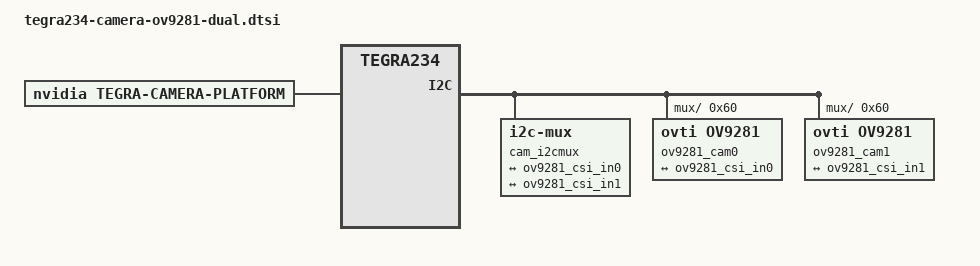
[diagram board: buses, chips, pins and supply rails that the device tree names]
// SPDX-License-Identifier: GPL-2.0-only
/*
 * tegra234-camera-ov9281-dual.dtsi
 *
 * Device tree "nội dung sensor" cho 2x Waveshare OV9281-120 (cam0/cam1) trên
 * Jetson Orin Nano, board P3768 22-pin CSI connector.
 *
 * NGUỒN THAM CHIẾU (đọc code thật, R39.2, ~/Downloads/public_sources_39.2):
 *  - Khung sườn/cấu trúc node: hardware/nvidia/t23x/nv-public/overlay/
 *    tegra234-camera-rbpcv2-imx219.dtsi (IMX219 dual, ĐANG CHẠY ỔN trên
 *    chính board này — dùng làm nền theo đúng quyết định dự án).
 *  - property sensor (avdd-reg/mclk_khz/pixel_t/...): đối chiếu thêm
 *    tegra234-camera-e3331-a00.dtsi, tegra234-camera-imx274-dual.dtsi
 *    (ví dụ dùng avdd-reg/dvdd-reg/iovdd-reg cho board KHÁC có PMIC riêng).
 *  - Ý nghĩa từng property: comment gốc trong chính rbpcv2-imx219.dtsi
 *    (đã đọc đầy đủ, không copy lại toàn bộ khối docstring ở đây cho gọn).
 *
 * QUYẾT ĐỊNH KIẾN TRÚC ĐÃ XÁC NHẬN VỚI NGƯỜI DÙNG (phiên viết Giai đoạn 3):
 *  1. KHÔNG khai "mclk" property — trên board P3768 (đã grep toàn bộ cây
 *     clock T234/BPMP của R39.2, không có clock nào tên "cam_mclk1"/
 *     "cam_mclk2"), MCLK là oscillator cố định luôn bật ở tầng phần cứng.
 *     nv_imx219.c thật (đang chạy tốt) cũng không được cấp "mclk" — chỉ gọi
 *     devm_clk_get() khi DT có khai. ov9281_power_get() đã được sửa lại
 *     (thêm guard if (pdata->mclk_name)) khớp đúng pattern này — xem
 *     nv_ov9281_ported_partial.c.
 *  2. KHÔNG khai avdd-reg/dvdd-reg/iovdd-reg — cùng lý do: board P3768
 *     không có regulator riêng cho khe 22-pin (AVDD/DVDD/IOVDD cố định luôn
 *     bật), IMX219 thật cũng không khai. ov9281_power_get()/power_on() vẫn
 *     giữ nhánh `if (pw->avdd)` v.v. (vô hại, không chạy vì pw->avdd = NULL).
 *  3. CÓ khai reset-gpios (XSHUTDOWN) — driver có request/toggle GPIO này
 *     thật (ov9281_power_get/power_on đã port). GPIO cụ thể đặt ở file
 *     overlay .dts (không phải .dtsi này), dùng lại đúng 2 chân
 *     CAM0_PWDN/CAM1_PWDN mà IMX219 dual dùng — vì OV9281 module (Waveshare)
 *     và IMX219 module (RPi V2) đều gắn qua CÙNG đầu nối 22-pin FPC vật lý
 *     trên board này (chân này thuộc carrier board, không phụ thuộc sensor).
 *     ✅ ĐÃ VERIFY THẬT (2026-08-28): dump device tree đang chạy thật qua
 *     `/proc/device-tree`, giải mã property reset-gpios thật trên node
 *     IMX219 đang chạy → khớp chính xác TEGRA234_MAIN_GPIO(H,6) (cam0) và
 *     TEGRA234_MAIN_GPIO(AC,0) (cam1) — xem ghi chú đầy đủ trong
 *     tegra234-p3767-camera-p3768-ov9281-dual.dts. Không còn là suy luận.
 *  4. pixel_t = "RAW10" (không phải mono/Y10 thật) — sensor_common.c
 *     (extract_pixel_format(), đã đọc code thật) chỉ hỗ trợ các chuỗi dạng
 *     "bayer_...", "yuv_...", "RAW10", "RAW16", "rgb_..." — KHÔNG có entry
 *     mono/Y10 nào. Giá trị
 *     image->pixel_format suy ra từ đây chỉ dùng nội bộ cho test-pattern-
 *     generator (csi.c:576, đã đọc code thật) — không ảnh hưởng mbus code
 *     thật gửi cho userspace (mbus code thật lấy từ OV9281_DEFAULT_DATAFMT
 *     = MEDIA_BUS_FMT_Y10_1X10 trong nv_ov9281_ported_partial.c, ĐÚNG mono).
 *     Chọn "RAW10" vì đúng độ sâu bit (10-bit, không có bayer pattern nào áp
 *     dụng cho ảnh mono nên nhãn "bayer" ẩn trong RAW10 vô hại ở đây).
 *  5. discontinuous_clk = "no" — KHÁC IMX219 (dùng "yes"). Lý do: register
 *     0x4800 (MIPI top control, bit 5 = discontinuous clk) trong CẢ 3 mode
 *     table gốc OV9281 (ov9281_mode_tbls.h) đều ghi giá trị 0x00 → bit 5 = 0
 *     → sensor cấu hình chạy continuous clock, không phải discontinuous.
 *     Đây là dữ liệu thật lấy từ register table, không phải suy đoán.
 *  6. num_lanes = "2" cố định cho cả 3 mode — datasheet mục "Format/
 *     resolution hỗ trợ" (đã trích trong OV9281-Jetson-Project-Plan.md)
 *     xác nhận mọi mode đều dùng 2-lane MIPI @ 800Mbps/lane.
 *  7. physical_w/physical_h lấy từ datasheet mục "key specifications":
 *     image area = 3896um x 2453um → 3.896mm x 2.453mm (số liệu chính thức
 *     OmniVision công bố, không phải tự suy ra từ pixel_size x resolution).
 *  8. pix_clk_hz = 80000000 cho cả 3 mode, line_length (HTS) = 728 cho cả 3
 *     mode — đã tính và kiểm chứng ở Giai đoạn 2 (xem block ghi chú cuối
 *     ov9281_mode_tbls.h): fps tính ra khớp khít ov9281_60fps[]/210fps[]
 *     hiện có trong bảng frmfmt.
 *  9. min/max_framerate, min/max_gain_val, exposure range: phần NÀO tính
 *     được trực tiếp từ macro/công thức đã có trong nv_ov9281_ported_
 *     partial.c (gain_factor=16 khớp OV9281_DEFAULT_GAIN, max_exp_time =
 *     (VTS-25 dòng) x line_time — đúng công thức datasheet mục "maximum
 *     exposure time: frame length - 25 row periods" đã trích) thì dùng số
 *     THẬT. Phần chưa có dữ liệu cứng (ví dụ max_gain_val thực tế nên giới
 *     hạn bao nhiêu trước khi nhiễu quá nhiều — datasheet không công bố
 *     dynamic range/max gain cụ thể, ghi "TBD") dùng giá trị ước lượng an
 *     toàn, có chú thích rõ "TODO: xác nhận khi bring-up thật" — không giả
 *     vờ là số đã kiểm chứng.
 */

#include <dt-bindings/gpio/tegra234-gpio.h>

/ {
	fragment-camera@0 {
		target-path = "/";
		__overlay__ {
			tegra-capture-vi  {
				num-channels = <2>;
				ports {
					#address-cells = <1>;
					#size-cells = <0>;
					vi_port0: port@0 {
						reg = <0>;
						ov9281_vi_in0: endpoint {
							port-index = <1>;
							bus-width = <2>;
							remote-endpoint = <&ov9281_csi_out0>;
						};
					};
					vi_port1: port@1 {
						reg = <1>;
						ov9281_vi_in1: endpoint {
							port-index = <2>;
							bus-width = <2>;
							remote-endpoint = <&ov9281_csi_out1>;
						};
					};
				};
			};

			bus@0 {
				host1x@13e00000 {
					nvcsi@15a00000 {
						num-channels = <2>;
						#address-cells = <1>;
						#size-cells = <0>;
						csi_chan0: channel@0 {
							reg = <0>;
							ports {
								#address-cells = <1>;
								#size-cells = <0>;
								csi_chan0_port0: port@0 {
									reg = <0>;
									ov9281_csi_in0: endpoint@0 {
										port-index = <1>;
										bus-width = <2>;
										remote-endpoint = <&ov9281_out0>;
									};
								};
								csi_chan0_port1: port@1 {
									reg = <1>;
									ov9281_csi_out0: endpoint@1 {
										remote-endpoint = <&ov9281_vi_in0>;
									};
								};
							};
						};
						csi_chan1: channel@1 {
							reg = <1>;
							ports {
								#address-cells = <1>;
								#size-cells = <0>;
								csi_chan1_port0: port@0 {
									reg = <0>;
									ov9281_csi_in1: endpoint@2 {
										port-index = <2>;
										bus-width = <2>;
										remote-endpoint = <&ov9281_out1>;
									};
								};
								csi_chan1_port1: port@1 {
									reg = <1>;
									ov9281_csi_out1: endpoint@3 {
										remote-endpoint = <&ov9281_vi_in1>;
									};
								};
							};
						};
					};
				};

				cam_i2cmux {
					i2c_0: i2c@0 {
						ov9281_cam0: ov9281_a@60 {
							compatible = "ovti,ov9281";
							/* I2C 7-bit address mặc định (SID->GND), xem
							 * OV9281_DEFAULT_I2C_ADDRESS_C0 trong .c */
							reg = <0x60>;
							devnode = "video0";
							/* datasheet "key specifications": image area
							 * 3896um x 2453um */
							physical_w = "3.896";
							physical_h = "2.453";
							sensor_model = "ov9281";
							use_sensor_mode_id = "true";

							/* KHÔNG khai clocks/clock-names/mclk (đảo ngược quyết
							 * định "extperiph1" trước đây — xem
							 * tegra234-camera-ov9281-dual.dtsi.bak-before-clockfix-*
							 * để xem bản cũ). Lý do đảo: bản cũ thêm "mclk" =
							 * "extperiph1"/"extperiph2" chỉ để né lỗi PHẦN MỀM
							 * -ENODATA trong camera_common_parse_clocks() (đã sửa
							 * đúng ở đó), nhưng KHÔNG có bằng chứng extperiph1/2
							 * thật sự lái chân CAM0/1_MCLK vật lý trên P3768 —
							 * rbpcv2-imx219.dtsi thật (module IMX219 đang chạy tốt,
							 * CÙNG 2 chân 22-pin FPC vật lý) không khai clocks/
							 * clock-names/mclk gì cả (grep xác nhận, không chỉ
							 * mclk_name=NULL phía code). Sau khi bỏ
							 * mclk_disable()/power_off() khỏi nhánh thành công của
							 * ov9281_board_setup() (fix trước) mà lỗi EREMOTEIO ở
							 * 0x3208/0x3508 KHÔNG đổi — bằng chứng enable/disable
							 * extperiph1/2 không hề ảnh hưởng gì tới sensor thật,
							 * tức đây là clock SAI MỤC TIÊU, không phải MCLK vật lý.
							 * Coi MCLK là oscillator cố định luôn bật (giống IMX219)
							 * — không khai gì ở đây nữa. Để không tái phát lỗi
							 * -ENODATA gốc, đã bỏ luôn lệnh gọi
							 * camera_common_parse_clocks() trong ov9281_parse_dt()
							 * (nv_ov9281.c) — khớp đúng cách imx219_parse_dt() làm
							 * (không gọi hàm đó luôn, không chỉ là DT rỗng). */

							mode0 { /* OV9281_MODE_1280X800 */
								mclk_khz = "24000";
								num_lanes = "2";
								tegra_sinterface = "serial_b";
								lane_polarity = "6";
								phy_mode = "DPHY";
								discontinuous_clk = "no";
								dpcm_enable = "false";
								cil_settletime = "0";
								active_w = "1280";
								active_h = "800";
								pixel_t = "RAW10";
								csi_pixel_bit_depth = "10";
								readout_orientation = "0";
								line_length = "728";
								inherent_gain = "1";
								mclk_multiplier = "3.33";
								pix_clk_hz = "80000000";

								gain_factor = "16";
								min_gain_val = "16";     /* 1.00x */
								max_gain_val = "256";    /* TODO: xác nhận thật, tạm 16.0x an toàn */
								step_gain_val = "1";
								default_gain = "16";     /* khớp OV9281_DEFAULT_GAIN=0x0010 */
								min_hdr_ratio = "1";
								max_hdr_ratio = "1";

								framerate_factor = "1000000";
								min_framerate = "2000000";   /* 2.0 fps */
								max_framerate = "60000000";  /* 60.0 fps, khớp ov9281_60fps[] đã kiểm chứng */
								step_framerate = "1";
								default_framerate = "60000000";

								exposure_factor = "1000000";
								min_exp_time = "9";       /* 1 row period ~= line_length/pix_clk_hz */
								max_exp_time = "16334";   /* (VTS 1820 - 25) x line_time, theo datasheet 2.5.2 */
								step_exp_time = "1";
								default_exp_time = "10000"; /* TODO: tinh chỉnh khi bring-up thật */
								embedded_metadata_height = "0";
							};

							mode1 { /* OV9281_MODE_1280X720 */
								mclk_khz = "24000";
								num_lanes = "2";
								tegra_sinterface = "serial_b";
								lane_polarity = "6";
								phy_mode = "DPHY";
								discontinuous_clk = "no";
								dpcm_enable = "false";
								cil_settletime = "0";
								active_w = "1280";
								active_h = "720";
								pixel_t = "RAW10";
								csi_pixel_bit_depth = "10";
								readout_orientation = "0";
								line_length = "728";
								inherent_gain = "1";
								mclk_multiplier = "3.33";
								pix_clk_hz = "80000000";

								gain_factor = "16";
								min_gain_val = "16";
								max_gain_val = "256";
								step_gain_val = "1";
								default_gain = "16";
								min_hdr_ratio = "1";
								max_hdr_ratio = "1";

								framerate_factor = "1000000";
								min_framerate = "2000000";
								max_framerate = "60000000";
								step_framerate = "1";
								default_framerate = "60000000";

								exposure_factor = "1000000";
								min_exp_time = "9";
								max_exp_time = "16334";  /* VTS mode1 cũng = 1820, xem ov9281_mode_tbls.h */
								step_exp_time = "1";
								default_exp_time = "10000";
								embedded_metadata_height = "0";
							};

							mode2 { /* OV9281_MODE_640X400 */
								mclk_khz = "24000";
								num_lanes = "2";
								tegra_sinterface = "serial_b";
								lane_polarity = "6";
								phy_mode = "DPHY";
								discontinuous_clk = "no";
								dpcm_enable = "false";
								cil_settletime = "0";
								active_w = "640";
								active_h = "400";
								pixel_t = "RAW10";
								csi_pixel_bit_depth = "10";
								readout_orientation = "0";
								line_length = "728";
								inherent_gain = "1";
								mclk_multiplier = "3.33";
								pix_clk_hz = "80000000";

								gain_factor = "16";
								min_gain_val = "16";
								max_gain_val = "256";
								step_gain_val = "1";
								default_gain = "16";
								min_hdr_ratio = "1";
								max_hdr_ratio = "1";

								framerate_factor = "1000000";
								min_framerate = "2000000";
								/* 210fps: BUG THẬT trong ov9281_mode_tbls.h gốc NVIDIA đã
								 * sửa (xem ghi chú "ov9281_210fps[]" trong file .h) — VTS=520
								 * cho ra fps thật ~211.3, dùng 210 theo datasheet công bố. */
								max_framerate = "210000000";
								step_framerate = "1";
								default_framerate = "210000000";

								exposure_factor = "1000000";
								min_exp_time = "9";
								max_exp_time = "4504";  /* (VTS 520 - 25) x line_time */
								step_exp_time = "1";
								default_exp_time = "2000";
								embedded_metadata_height = "0";
							};

							ports {
								#address-cells = <1>;
								#size-cells = <0>;
								port@0 {
									reg = <0>;
									ov9281_out0: endpoint {
										port-index = <1>;
										bus-width = <2>;
										remote-endpoint = <&ov9281_csi_in0>;
									};
								};
							};
						};
					};

					i2c_1: i2c@1 {
						ov9281_cam1: ov9281_c@60 {
							compatible = "ovti,ov9281";
							reg = <0x60>;
							devnode = "video1";
							physical_w = "3.896";
							physical_h = "2.453";
							sensor_model = "ov9281";
							use_sensor_mode_id = "true";

							/* KHÔNG khai clocks/clock-names/mclk — lý do đầy đủ
							 * xem comment tại ov9281_a@60 ở trên. */

							mode0 {
								mclk_khz = "24000";
								num_lanes = "2";
								tegra_sinterface = "serial_c";
								phy_mode = "DPHY";
								discontinuous_clk = "no";
								dpcm_enable = "false";
								cil_settletime = "0";
								active_w = "1280";
								active_h = "800";
								pixel_t = "RAW10";
								csi_pixel_bit_depth = "10";
								readout_orientation = "0";
								line_length = "728";
								inherent_gain = "1";
								mclk_multiplier = "3.33";
								pix_clk_hz = "80000000";

								gain_factor = "16";
								min_gain_val = "16";
								max_gain_val = "256";
								step_gain_val = "1";
								default_gain = "16";
								min_hdr_ratio = "1";
								max_hdr_ratio = "1";

								framerate_factor = "1000000";
								min_framerate = "2000000";
								max_framerate = "60000000";
								step_framerate = "1";
								default_framerate = "60000000";

								exposure_factor = "1000000";
								min_exp_time = "9";
								max_exp_time = "16334";
								step_exp_time = "1";
								default_exp_time = "10000";
								embedded_metadata_height = "0";
							};

							mode1 {
								mclk_khz = "24000";
								num_lanes = "2";
								tegra_sinterface = "serial_c";
								phy_mode = "DPHY";
								discontinuous_clk = "no";
								dpcm_enable = "false";
								cil_settletime = "0";
								active_w = "1280";
								active_h = "720";
								pixel_t = "RAW10";
								csi_pixel_bit_depth = "10";
								readout_orientation = "0";
								line_length = "728";
								inherent_gain = "1";
								mclk_multiplier = "3.33";
								pix_clk_hz = "80000000";

								gain_factor = "16";
								min_gain_val = "16";
								max_gain_val = "256";
								step_gain_val = "1";
								default_gain = "16";
								min_hdr_ratio = "1";
								max_hdr_ratio = "1";

								framerate_factor = "1000000";
								min_framerate = "2000000";
								max_framerate = "60000000";
								step_framerate = "1";
								default_framerate = "60000000";

								exposure_factor = "1000000";
								min_exp_time = "9";
								max_exp_time = "16334";
								step_exp_time = "1";
								default_exp_time = "10000";
								embedded_metadata_height = "0";
							};

							mode2 {
								mclk_khz = "24000";
								num_lanes = "2";
								tegra_sinterface = "serial_c";
								phy_mode = "DPHY";
								discontinuous_clk = "no";
								dpcm_enable = "false";
								cil_settletime = "0";
								active_w = "640";
								active_h = "400";
								pixel_t = "RAW10";
								csi_pixel_bit_depth = "10";
								readout_orientation = "0";
								line_length = "728";
								inherent_gain = "1";
								mclk_multiplier = "3.33";
								pix_clk_hz = "80000000";

								gain_factor = "16";
								min_gain_val = "16";
								max_gain_val = "256";
								step_gain_val = "1";
								default_gain = "16";
								min_hdr_ratio = "1";
								max_hdr_ratio = "1";

								framerate_factor = "1000000";
								min_framerate = "2000000";
								max_framerate = "210000000";
								step_framerate = "1";
								default_framerate = "210000000";

								exposure_factor = "1000000";
								min_exp_time = "9";
								max_exp_time = "4504";
								step_exp_time = "1";
								default_exp_time = "2000";
								embedded_metadata_height = "0";
							};

							ports {
								#address-cells = <1>;
								#size-cells = <0>;
								port@0 {
									reg = <0>;
									ov9281_out1: endpoint {
										port-index = <2>;
										bus-width = <2>;
										remote-endpoint = <&ov9281_csi_in1>;
									};
								};
							};
						};
					};
				};
			};

			tegra-camera-platform {
				compatible = "nvidia, tegra-camera-platform";
				modules {
					module0 {
						badge = "waveshare_front_OV9281";
						position = "front";
						orientation = "1";
						drivernode0 {
							pcl_id = "v4l2_sensor";
							sysfs-device-tree =
							"/sys/firmware/devicetree/base/bus@0/cam_i2cmux/i2c@0/ov9281_a@60";
						};
					};
					module1 {
						badge = "waveshare_rear_OV9281";
						position = "rear";
						orientation = "1";
						drivernode0 {
							pcl_id = "v4l2_sensor";
							sysfs-device-tree =
							"/sys/firmware/devicetree/base/bus@0/cam_i2cmux/i2c@1/ov9281_c@60";
						};
					};
				};
			};
		};
	};
};
